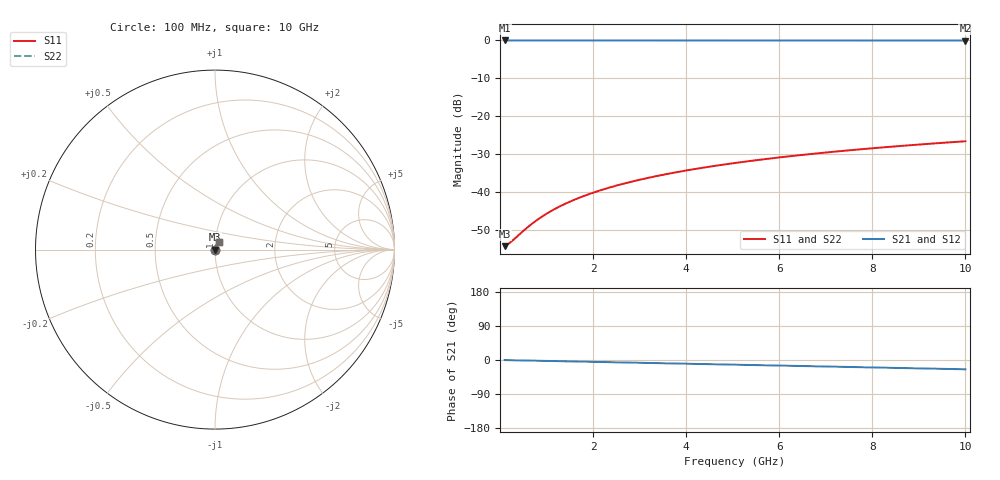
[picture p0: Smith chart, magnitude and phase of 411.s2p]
# Hz S RI R 50.00
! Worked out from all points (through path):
!   100 points, 100 MHz to 10 GHz, reference 50 ohm
!   highest |S21| = -0.02 dB at 100 MHz (marker M1); lowest = 0.0 dB at 10 GHz (marker M2)
!   group delay of S21, straight-line fit = 6.82 ps
!   lowest |S11| = -54.2 dB at 100 MHz (marker M3), VSWR 1.00, Z = 50.2 + j0.0479 ohm
!   |S11| at or under -10 dB: start of sweep to end of sweep
!   |S22| runs from -54.2 to -26.6 dB; largest |S21 - S12| = 0
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1e8  0.0019 0.000477  0.9981 -0.00426  0.9981 -0.00426  0.0019 0.000477
2e8  0.00191 0.000954  0.998 -0.00852  0.998 -0.00852  0.00191 0.000954
3e8  0.00193 0.00143  0.998 -0.0128  0.998 -0.0128  0.00193 0.00143
5e8  0.00198 0.00238  0.9978 -0.0213  0.9978 -0.0213  0.00198 0.00238
7e8  0.00203 0.00334  0.9976 -0.0298  0.9976 -0.0298  0.00203 0.00334
8e8  0.00207 0.00381  0.9974 -0.0341  0.9974 -0.0341  0.00207 0.00381
1e9  0.00214 0.00476  0.9971 -0.0426  0.9971 -0.0426  0.00214 0.00476
1.2e9  0.00224 0.00571  0.9967 -0.0511  0.9967 -0.0511  0.00224 0.00571
1.4e9  0.00235 0.00666  0.9962 -0.0596  0.9962 -0.0596  0.00235 0.00666
1.6e9  0.00247 0.0076  0.9956 -0.0681  0.9956 -0.0681  0.00247 0.0076
1.8e9  0.00261 0.00854  0.995 -0.0766  0.995 -0.0766  0.00261 0.00854
2.1e9  0.00286 0.00995  0.9939 -0.0893  0.9939 -0.0893  0.00286 0.00995
2.5e9  0.00323 0.0118  0.9922 -0.1063  0.9922 -0.1063  0.00323 0.0118
2.9e9  0.00367 0.0137  0.9902 -0.1232  0.9902 -0.1232  0.00367 0.0137
3.4e9  0.00431 0.016  0.9873 -0.1444  0.9873 -0.1444  0.00431 0.016
4.2e9  0.00554 0.0196  0.9817 -0.1781  0.9817 -0.1781  0.00554 0.0196
5.1e9  0.00721 0.0235  0.9739 -0.2157  0.9739 -0.2157  0.00721 0.0235
5.9e9  0.00894 0.0269  0.9658 -0.249  0.9658 -0.249  0.00894 0.0269
6.7e9  0.0109 0.0301  0.9566 -0.2819  0.9566 -0.2819  0.0109 0.0301
7.5e9  0.0131 0.0332  0.9462 -0.3146  0.9462 -0.3146  0.0131 0.0332
8.4e9  0.0158 0.0366  0.9331 -0.3509  0.9331 -0.3509  0.0158 0.0366
1e10  0.0213 0.0419  0.9064 -0.4143  0.9064 -0.4143  0.0213 0.0419
